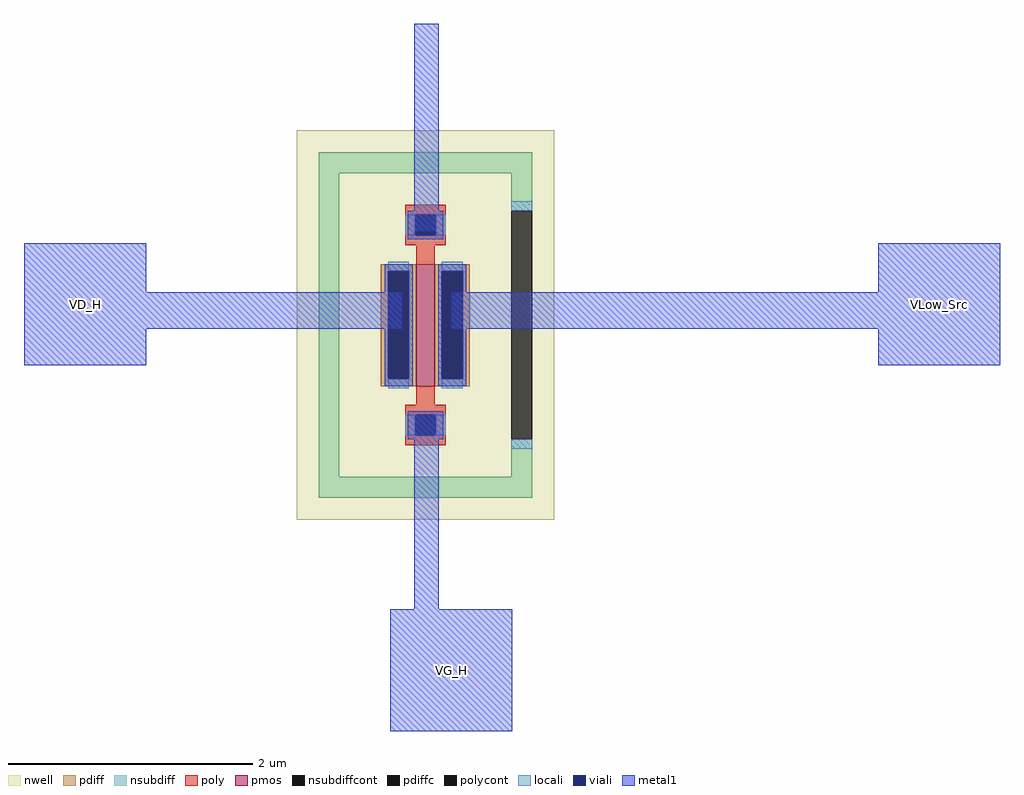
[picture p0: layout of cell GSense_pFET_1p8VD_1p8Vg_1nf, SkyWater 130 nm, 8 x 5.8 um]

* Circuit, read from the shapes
.subckt GSense_pFET_1p8VD_1p8Vg_1nf VG_H VD_H VLow_Src
XM1 VLow_Src VG_H VD_H n1 sky130_fd_pr__pfet_01v8 w=1 l=0.15
.ends

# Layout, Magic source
magic
tech sky130A
magscale 1 2
<< metal1 >>
rect 140 -380 180 -40
rect -500 -480 -300 -400
rect 900 -480 1100 -400
rect -500 -540 120 -480
rect 200 -540 1100 -480
rect -500 -600 -300 -540
rect 900 -600 1100 -540
rect 140 -1000 180 -680
rect 100 -1200 300 -1000
use sky130_fd_pr__pfet_01v8_8JS3FC  XM1
transform 1 0 158 0 1 -534
box -211 -319 211 319
<< labels >>
flabel metal1 900 -600 1100 -400 0 FreeSans 160 0 0 0 VLow_Src
port 2 nsew
flabel metal1 -500 -600 -300 -400 0 FreeSans 160 0 0 0 VD_H
port 1 nsew
flabel metal1 100 -1200 300 -1000 0 FreeSans 160 0 0 0 VG_H
port 0 nsew
<< end >>

# cell sky130_fd_pr__pfet_01v8_8JS3FC: kit device sky130_fd_pr__pfet_01v8, w 1.0 l 0.15 m 1 nf 1 diffcov 100 polycov 100 guard 1 glc 0 grc 1 gtc 0 gbc 0 tbcov 100 rlcov 100 topc 1 botc 1 poverlap 0 doverlap 1 lmin 0.15 wmin 0.42 compatible {sky130_fd_pr__pfet_01v8 sky130_fd_pr__pfet_01v8_lvt sky130_fd_pr__pfet_01v8_hvt sky130_fd_pr__pfet_g5v0d10v5} full_metal 0 viasrc 100 viadrn 100 viagate 100 viagb 0 viagr 0 viagl 0 viagt 0
